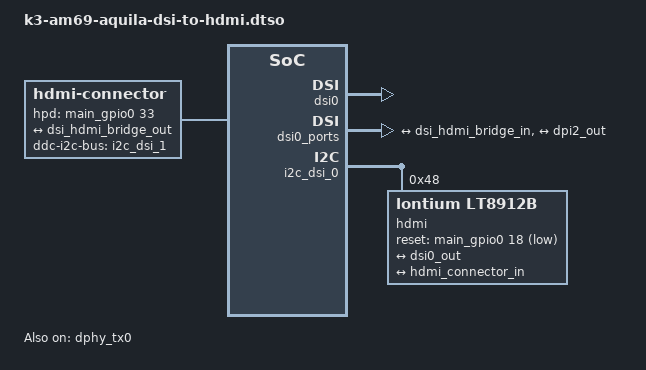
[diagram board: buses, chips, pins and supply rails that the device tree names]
// SPDX-License-Identifier: GPL-2.0-or-later OR MIT
/*
 * Copyright (c) Toradex
 *
 * Toradex DSI to HDMI Adapter on Aquila AM69 DSI_1.
 * Used on Development Board (J44), DSI_1 is exposed via a Samtec LSS-130 connector.
 *
 * https://developer.toradex.com/hardware/accessories/add-ons/dsi-hdmi-adapter
 */

/dts-v1/;
/plugin/;

#include <dt-bindings/gpio/gpio.h>

&{/} {
	hdmi-connector {
		compatible = "hdmi-connector";
		pinctrl-names = "default";
		pinctrl-0 = <&pinctrl_pwm3_dsi_gpio>;
		ddc-i2c-bus = <&i2c_dsi_1>;
		/* Aquila PWM_3_DSI (AQUILA B46) */
		hpd-gpios = <&main_gpio0 33 GPIO_ACTIVE_HIGH>;
		type = "a";

		port {
			hdmi_connector_in: endpoint {
				remote-endpoint = <&dsi_hdmi_bridge_out>;
			};
		};
	};
};

&dphy_tx0 {
	status = "okay";
};

&dsi0 {
	status = "okay";
};

&dsi0_ports {
	#address-cells = <1>;
	#size-cells = <0>;

	port@0 {
		reg = <0>;

		dsi0_out: endpoint {
			remote-endpoint = <&dsi_hdmi_bridge_in>;
		};
	};

	port@1 {
		reg = <1>;

		dsi0_in: endpoint {
			remote-endpoint = <&dpi2_out>;
		};
	};
};

&dss_ports {
	#address-cells = <1>;
	#size-cells = <0>;

	port@2 {
		reg = <2>;

		dpi2_out: endpoint {
			remote-endpoint = <&dsi0_in>;
		};
	};
};

/* Aquila PWM_3_DSI (AQUILA B46) repurposed as HDMI HPD GPIO */
&main_ehrpwm5 {
	status = "disabled";
};

&i2c_dsi_0 {
	#address-cells = <1>;
	#size-cells = <0>;

	hdmi@48 {
		compatible = "lontium,lt8912b";
		reg = <0x48>;
		pinctrl-names = "default";
		pinctrl-0 = <&pinctrl_gpio_20_dsi_1>;
		/* Aquila GPIO_20_DSI_1 (AQUILA B45) */
		reset-gpios = <&main_gpio0 18 GPIO_ACTIVE_LOW>;

		ports {
			#address-cells = <1>;
			#size-cells = <0>;

			port@0 {
				reg = <0>;

				dsi_hdmi_bridge_in: endpoint {
					remote-endpoint = <&dsi0_out>;
					data-lanes = <1 2 3 4>;
				};
			};

			port@1 {
				reg = <1>;

				dsi_hdmi_bridge_out: endpoint {
					remote-endpoint = <&hdmi_connector_in>;
				};
			};
		};
	};
};
